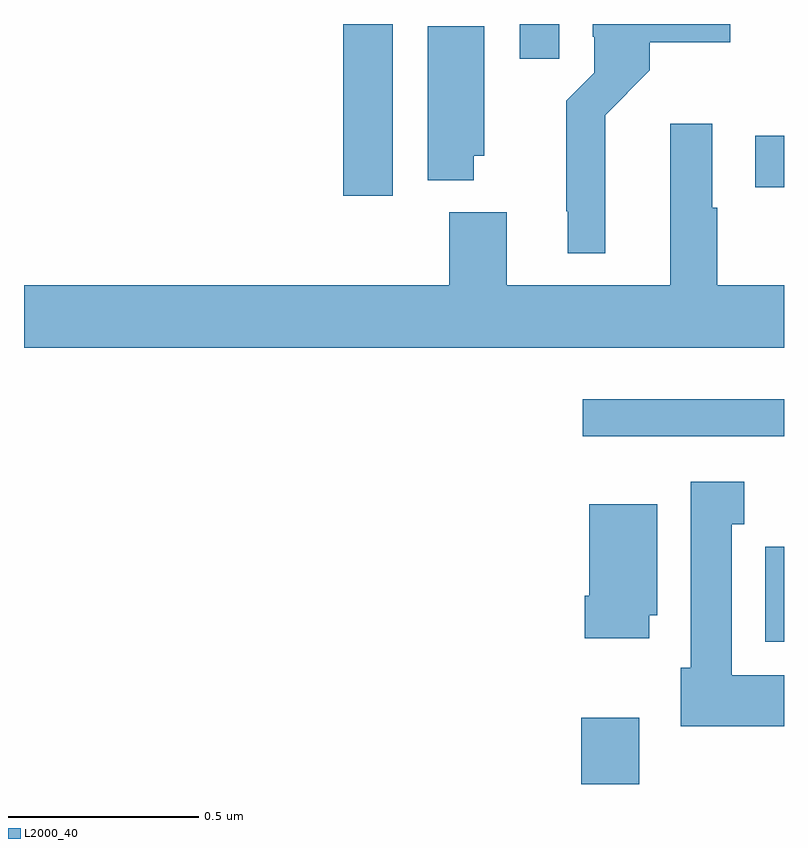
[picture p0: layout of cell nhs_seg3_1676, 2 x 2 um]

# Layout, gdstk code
import gdstk
lib = gdstk.Library(unit=1e-6, precision=1e-09)
def R(c, l, rs):  # rectangles x0, y0, x1, y1
    for r in rs: c.add(gdstk.rectangle(r[:2], r[2:], *l))
def P(c, l, *ps):  # polygons
    for p in ps: c.add(gdstk.Polygon(p, *l))
L2000_40 = (2000, 40)

nhs_seg3_1676 = lib.new_cell('nhs_seg3_1676')
R(nhs_seg3_1676, L2000_40, [(132.467,734.4,132.619,734.575), (132.951,734.774,133,735.024), (132.471,735.315,133,735.412), (131.84,735.948,131.971,736.4), (132.924,735.971,133,736.106), (132.305,736.308,132.409,736.4)])
P(nhs_seg3_1676, L2000_40, [(132.529,736.16),(132.647,736.278),(132.647,736.352),(132.859,736.352),(132.859,736.4),(132.497,736.4),(132.497,736.366),(132.501,736.366),(132.501,736.272),(132.427,736.198),(132.427,735.907),(132.431,735.907),(132.431,735.797),(132.529,735.797)],
  [(132.184,736.053),(132.211,736.053),(132.211,736.394),(132.062,736.394),(132.062,735.989),(132.184,735.989)],
  [(133,735.712),(132.824,735.712),(132.824,735.917),(132.811,735.917),(132.811,736.138),(132.701,736.138),(132.701,735.712),(132.271,735.712),(132.271,735.904),(132.119,735.904),(132.119,735.712),(131,735.712),(131,735.548),(133,735.548)],
  [(133,734.686),(132.862,734.686),(132.862,735.083),(132.895,735.083),(132.895,735.196),(132.755,735.196),(132.755,734.706),(132.728,734.706),(132.728,734.552),(133,734.552)],
  [(132.646,734.844),(132.667,734.844),(132.667,735.136),(132.488,735.136),(132.488,734.896),(132.476,734.896),(132.476,734.784),(132.646,734.784)])

lib.write_gds('nhs_seg3_1676.gds')
